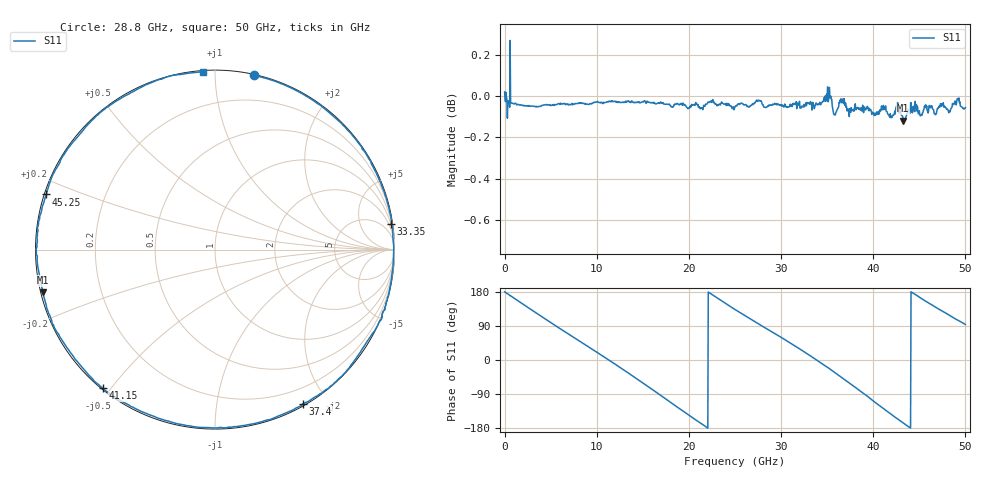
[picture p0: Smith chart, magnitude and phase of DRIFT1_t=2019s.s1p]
!Created with skrf (http://scikit-rf.org).
# Hz S RI R 50.0
!freq ReS11 ImS11
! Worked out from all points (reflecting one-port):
!   1001 points, 300 kHz to 50 GHz, reference 50 ohm
!   lowest |S11| = -0.1 dB at 43.25 GHz (marker M1), VSWR 147.31, Z = 0.345 - j6.13 ohm
!   phase of S11 starts at 180 deg and turns -806 deg over the sweep
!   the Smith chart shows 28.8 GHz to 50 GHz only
!   S11 on the Smith chart (normalised r, x): 28.8 GHz: 0.01, +1.25; 33.35 GHz: 1, +14; 37.4 GHz: 0.02, -1.72; 41.15 GHz: 0.00, -0.48; 45.25 GHz: 0.01, +0.16; 50 GHz: 0.01, +0.94
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300000  -1.003 0.00347
1.65029e9  -0.8869 0.4512
3.500279e9  -0.5396 0.8351
6.250262e9  0.1874 0.9779
9.650242e9  0.8939 0.4401
1.250022e10  0.9406 -0.33
1.400022e10  0.7194 -0.6897
1.58502e10  0.2628 -0.961
1.73002e10  -0.1662 -0.9817
1.875019e10  -0.5651 -0.82
2.035018e10  -0.8766 -0.4715
2.190017e10  -0.9944 -0.0488
2.340016e10  -0.9261 0.3643
2.500015e10  -0.6804 0.7246
2.700014e10  -0.2309 0.9685
2.880013e10  0.2191 0.9708
3.125011e10  0.7505 0.6546
3.33501e10  0.9823 0.1412
3.530009e10  0.9143 -0.4029
3.740008e10  0.4903 -0.8587
3.750008e10  0.4662 -0.8766
3.930006e10  -0.0747 -0.9905
4.115005e10  -0.6244 -0.7715
4.325004e10  -0.9573 -0.2381
4.375004e10  -0.9878 -0.0913
4.525003e10  -0.9411 0.3071
4.755001e10  -0.6145 0.7824
5e10  -0.0662 0.9915
